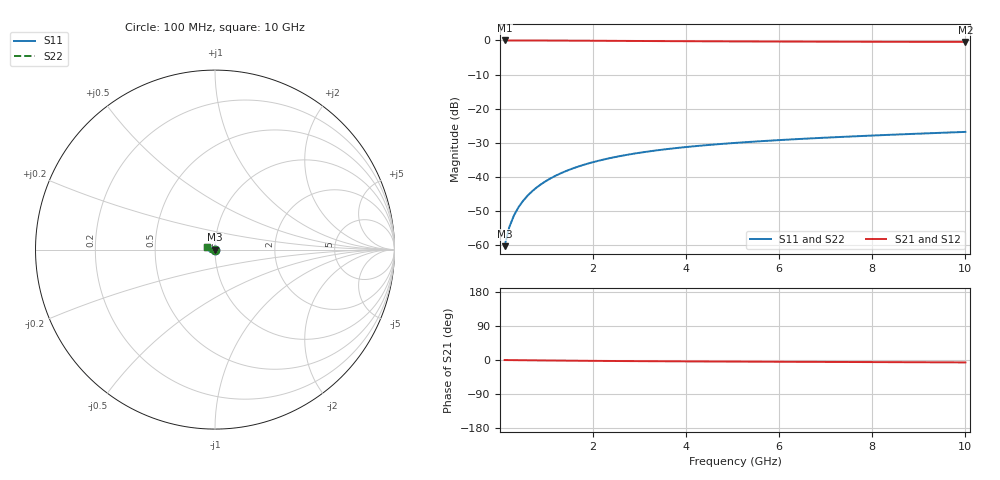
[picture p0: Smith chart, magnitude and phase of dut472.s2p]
! Touchstone file exported from HFSS 2024.1.0
!  File:  C:/UserFiles/LocalFiles/RDL_TSV_Batchsim/temp_TSV1_472_1779698565.aedt
!  Generated:  04:49:10 PM May 25, 2026
!  Design:  TSV1
!  Project:  temp_TSV1_472_1779698565
!  Setup:  Setup1
!  Solution:  Sweep
! Variables:
!  dtsv = 6.59um
!  hbump = 3um
!  htsv = 99.78um
!  lrdl = 252.1521522um
!  p = 40
!  p1 = 45.92um
!  t = 500um
!  trdl = 3um
!  wrdl = 24.89489489um
# GHz S MA R 50.000000
! Terminal data exported
! Port[1] = TSV22_T1
! Port[2] = TSV22_T2
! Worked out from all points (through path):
!   100 points, 100 MHz to 10 GHz, reference 50 ohm
!   highest |S21| = 0.00 dB at 100 MHz (marker M1); lowest = -0.4 dB at 10 GHz (marker M2)
!   lowest |S11| = -60.3 dB at 100 MHz (marker M3), VSWR 1.00, Z = 50 - j0.0901 ohm
!   |S11| at or under -10 dB: start of sweep to end of sweep
!   |S22| runs from -60.3 to -26.8 dB; largest |S21 - S12| = 6.3e-15
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0.1  0.0009671 -68.7  0.9996 -0.1  0.9996 -0.1  0.0009671 -68.7
! Gamma 0 0 0 0
! Port Impedance 50 0 50 0
0.2  0.001836 -81.7  0.9995 -0.3  0.9995 -0.3  0.001836 -81.7
0.3  0.002722 -87.5  0.9993 -0.4  0.9993 -0.4  0.002722 -87.5
0.4  0.00361 -91.4  0.9991 -0.5  0.9991 -0.5  0.00361 -91.4
0.5  0.004494 -94.5  0.9988 -0.6  0.9988 -0.6  0.004494 -94.5
0.6  0.005373 -97.1  0.9985 -0.7  0.9985 -0.7  0.005373 -97.1
0.7  0.006244 -99.6  0.9981 -0.9  0.9981 -0.9  0.006244 -99.6
0.8  0.007107 -101.8  0.9977 -1.0  0.9977 -1.0  0.007107 -101.8
0.9  0.00796 -104.0  0.9972 -1.1  0.9972 -1.1  0.00796 -104.0
1.1  0.009632 -108.1  0.9962 -1.3  0.9962 -1.3  0.009632 -108.1
1.4  0.01204 -113.8  0.9943 -1.7  0.9943 -1.7  0.01204 -113.8
1.6  0.01358 -117.4  0.9929 -1.9  0.9929 -1.9  0.01358 -117.4
1.8  0.01505 -120.9  0.9914 -2.1  0.9914 -2.1  0.01505 -120.9
2.1  0.01715 -126.0  0.989 -2.3  0.989 -2.3  0.01715 -126.0
2.5  0.01972 -132.3  0.9858 -2.7  0.9858 -2.7  0.01972 -132.3
2.9  0.02205 -138.2  0.9826 -3.0  0.9826 -3.0  0.02205 -138.2
3.4  0.02466 -145.0  0.9787 -3.3  0.9787 -3.3  0.02466 -145.0
4.2  0.02826 -154.7  0.9731 -3.8  0.9731 -3.8  0.02826 -154.7
5.1  0.03168 -164.3  0.9678 -4.2  0.9678 -4.2  0.03168 -164.3
6.7  0.03676 -178.5  0.9608 -4.9  0.9608 -4.9  0.03676 -178.5
8.4  0.04148 169.5  0.9556 -5.7  0.9556 -5.7  0.04148 169.5
10  0.04569 160.1  0.9522 -6.4  0.9522 -6.4  0.04569 160.1
